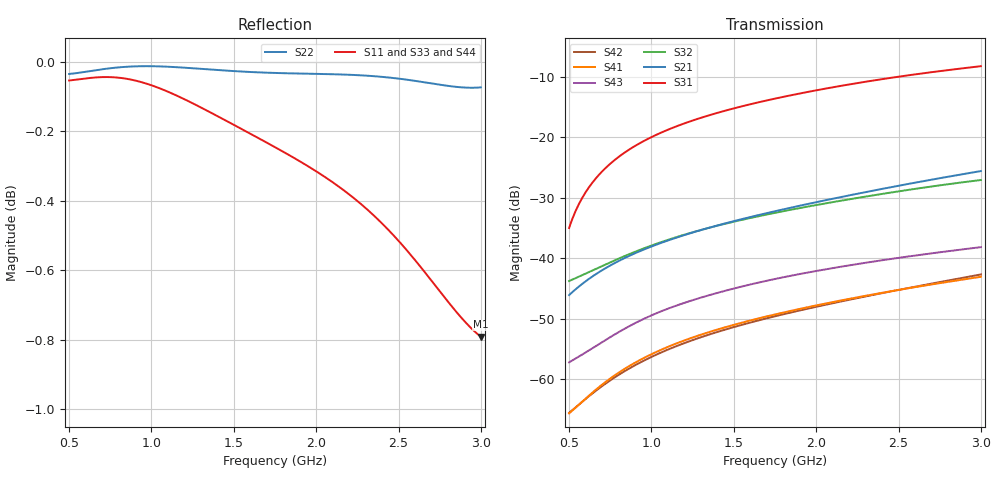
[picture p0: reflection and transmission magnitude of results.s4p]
! rfsim (KiCad + openEMS)
# HZ S RI R 50
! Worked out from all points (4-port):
!   251 points, 500 MHz to 3 GHz, reference 50 ohm
!   strongest paths, dB at 500 MHz, 1.12 GHz, 1.75 GHz, 2.38 GHz, 3 GHz:
!     S31: -35.0, -18.5, -13.6, -10.4, -8.2
!     S21: -46.1, -36.9, -32.2, -28.6, -25.6
!     S32: -43.7, -36.8, -32.5, -29.4, -27.0
!     S43: -57.2, -48.1, -43.4, -40.4, -38.1
!     S41: -65.6, -54.4, -49.3, -45.8, -43.0
!     S42: -65.5, -54.9, -49.6, -45.9, -42.7
!   lowest |S11| = -0.8 dB at 3 GHz (marker M1), VSWR 21.96, Z = 4.39 + j48 ohm
!   |S11| at or under -10 dB: nowhere
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5e8  -0.9748 0.1938  0.00144 0.00617  -0.00727 0.0198  -0.000618 0.00016
     0.00131 0.0048  -0.9916 0.0935  -0.000583 0.00552  -0.000367 0.00032
     0.0016 0.0178  0.000874 0.00644  -1.008 0.044  -0.000568 0.00125
     -0.000373 0.000367  -0.00036 0.000386  -0.00027 0.00135  -0.9717 0.0901
5.9e8  -0.9655 0.2382  0.00188 0.00688  0.00247 0.0367  -0.000723 0.00035
       0.00143 0.00614  -0.9906 0.1094  -0.000121 0.00708  -0.000468 0.000459
       0.00423 0.0332  0.00117 0.00728  -1 0.0662  -0.000668 0.00164
       -0.000489 0.000463  -0.000442 0.000504  -0.00037 0.00159  -0.9661 0.1031
7.2e8  -0.9478 0.3027  0.0025 0.00821  0.0117 0.0551  -0.000819 0.000688
       0.00191 0.00806  -0.9888 0.1333  0.000602 0.00906  -0.000599 0.000705
       0.01 0.0548  0.00152 0.00876  -0.9938 0.0923  -0.000763 0.00226
       -0.000633 0.000705  -0.000553 0.000733  -0.000542 0.00204  -0.958 0.1207
9e8  -0.9142 0.3899  0.0037 0.0103  0.0219 0.0812  -0.000821 0.00122
     0.00306 0.0106  -0.9844 0.1674  0.00154 0.0116  -0.00073 0.00111
     0.0214 0.0824  0.00221 0.0111  -0.9881 0.1289  -0.000782 0.00315
     -0.000715 0.00117  -0.000656 0.00113  -0.00068 0.00283  -0.9468 0.1428
1.13e9  -0.8574 0.4939  0.006 0.013  0.0414 0.1128  -0.000611 0.0019
        0.00515 0.0136  -0.9758 0.2111  0.00275 0.0148  -0.000805 0.00169
        0.0404 0.1135  0.00359 0.0142  -0.9763 0.1745  -0.000637 0.00431
        -0.000588 0.00183  -0.000677 0.0017  -0.000597 0.00393  -0.9333 0.1684
2.15e9  -0.4716 0.8351  0.0231 0.0192  0.1744 0.2004  0.00225 0.00395
        0.0217 0.0237  -0.9129 0.3979  0.0124 0.0296  -0.000185 0.00474
        0.1708 0.2056  0.0146 0.0262  -0.8977 0.3452  0.00153 0.00911
        0.0021 0.00396  0.000318 0.00439  0.00148 0.0084  -0.887 0.2706
3e9  -0.0333 0.9123  0.0442 0.0134  0.3347 0.195  0.00631 0.00324
     0.047 0.0239  -0.8279 0.5458  0.0288 0.042  0.00198 0.00826
     0.3281 0.2087  0.03 0.0328  -0.7969 0.4538  0.0051 0.0122
     0.00604 0.00362  0.00265 0.00687  0.0049 0.0114  -0.8462 0.3563
